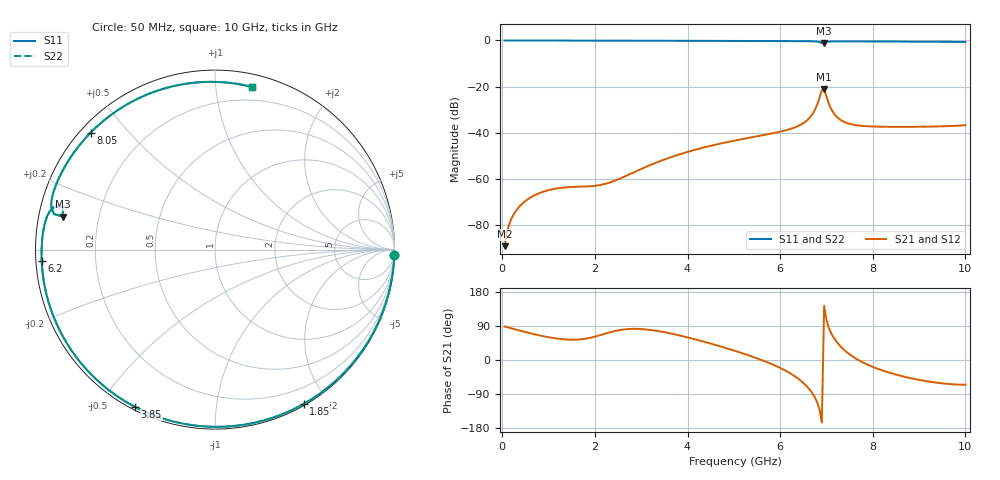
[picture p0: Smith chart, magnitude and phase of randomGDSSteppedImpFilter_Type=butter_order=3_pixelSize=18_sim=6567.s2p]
! freq	dB(S11)	phase(S11)	dB(S12)	phase(S12)
!  dB(S21)	phase(S21)	dB(S22)	phase(S22)
!S-par simulation data
#  GHz  S  DB  R 50
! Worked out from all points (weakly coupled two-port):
!   200 points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, 50 MHz to 10 GHz, reference 50 ohm
!   highest |S21| = -21.10 dB at 6.95 GHz (marker M1); lowest = -89.0 dB at 50 MHz (marker M2)
!   lowest |S11| = -1.2 dB at 6.95 GHz (marker M3), VSWR 14.29, Z = 3.54 + j5.32 ohm
!   |S11| at or under -10 dB: nowhere
!   |S22| runs from -1.2 to 0.0 dB; largest |S21 - S12| = 0
!   S11 on the Smith chart (normalised r, x): 50 MHz: 0, -67; 1.85 GHz: 0.02, -1.73; 3.85 GHz: 0.01, -0.61; 6.2 GHz: 0.02, -0.03; 8.05 GHz: 0.03, +0.40; 10 GHz: 0.09, +1.25
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0.05  -0.00 -1.7  -89.01 88.3  -89.01 88.3  -0.00 -1.7
0.15  -0.01 -5.1  -79.50 85.0  -79.50 85.0  -0.01 -5.1
0.4  -0.02 -13.4  -71.22 76.9  -71.22 76.9  -0.02 -13.4
0.7  -0.03 -23.4  -66.95 67.8  -66.95 67.8  -0.03 -23.4
1.15  -0.05 -38.1  -64.12 57.1  -64.12 57.1  -0.05 -38.1
1.75  -0.07 -57.1  -63.23 55.4  -63.23 55.4  -0.07 -57.1
1.85  -0.07 -60.2  -63.15 57.3  -63.15 57.3  -0.07 -60.2
2.35  -0.09 -75.2  -61.28 73.9  -61.28 73.9  -0.09 -75.2
3.4  -0.13 -104.9  -52.26 75.6  -52.26 75.6  -0.13 -104.9
3.85  -0.15 -116.9  -49.14 64.2  -49.14 64.2  -0.15 -116.9
5.05  -0.21 -147.4  -43.18 23.1  -43.18 23.1  -0.21 -147.4
6.2  -0.28 -176.1  -38.41 -33.9  -38.41 -33.9  -0.28 -176.1
6.5  -0.32 176.1  -35.78 -60.4  -35.78 -60.4  -0.32 176.1
6.7  -0.38 170.3  -31.79 -88.5  -31.79 -88.5  -0.37 170.4
6.9  -1.14 164.2  -21.48 -165.0  -21.48 -165.0  -1.13 164.3
6.95  -1.22 167.8  -21.10 143.1  -21.10 143.1  -1.21 167.8
7.1  -0.45 163.7  -29.58 70.9  -29.58 70.9  -0.45 163.7
7.3  -0.39 157.6  -34.32 36.5  -34.32 36.5  -0.39 157.6
8.05  -0.43 136.8  -37.26 -20.6  -37.26 -20.6  -0.43 136.8
8.35  -0.46 128.3  -37.37 -33.1  -37.37 -33.1  -0.46 128.3
9.2  -0.54 102.9  -37.29 -56.7  -37.29 -56.7  -0.54 102.9
10  -0.64 77.1  -36.68 -65.3  -36.68 -65.3  -0.64 77.1
